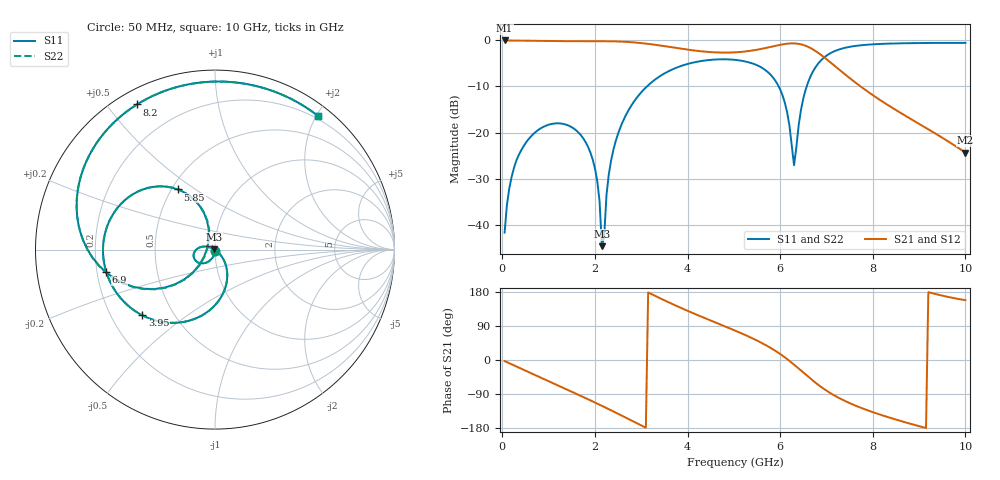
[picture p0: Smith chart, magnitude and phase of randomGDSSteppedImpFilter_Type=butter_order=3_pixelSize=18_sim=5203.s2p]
! freq	dB(S11)	phase(S11)	dB(S12)	phase(S12)
!  dB(S21)	phase(S21)	dB(S22)	phase(S22)
!S-par simulation data
#  GHz  S  DB  R 50
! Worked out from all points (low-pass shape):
!   200 points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, 50 MHz to 10 GHz, reference 50 ohm
!   highest |S21| = 0.00 dB at 50 MHz (marker M1); lowest = -24.3 dB at 10 GHz (marker M2)
!   |S21| within 3 dB of the highest: start of sweep to 6.864 GHz
!   lowest |S11| = -44.7 dB at 2.15 GHz (marker M3), VSWR 1.01, Z = 49.5 + j0.197 ohm
!   |S11| at or under -10 dB: start of sweep to 3.122 GHz; 5.968 GHz to 6.573 GHz (604.7 MHz wide, 9.64 % of centre)
!   |S22| runs from -44.7 to -0.5 dB; largest |S21 - S12| = 0
!   S11 on the Smith chart (normalised r, x): 50 MHz: 1.00, -0.02; 3.95 GHz: 0.33, -0.35; 5.85 GHz: 0.54, +0.43; 6.9 GHz: 0.24, -0.10; 8.2 GHz: 0.06, +0.60; 10 GHz: 0.16, +2.02
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0.05  -41.73 -92.2  -0.00 -2.8  -0.00 -2.8  -41.73 -92.2
0.25  -27.73 -103.8  -0.03 -14.1  -0.03 -14.1  -27.73 -103.8
0.6  -21.06 -124.3  -0.08 -33.6  -0.08 -33.6  -21.06 -124.3
1.2  -17.99 -157.4  -0.15 -66.8  -0.15 -66.8  -17.99 -157.4
1.75  -21.28 172.0  -0.15 -97.7  -0.15 -97.7  -21.28 172.0
2.05  -30.48 156.1  -0.14 -115.0  -0.14 -115.0  -30.49 156.0
2.15  -44.67 160.0  -0.14 -120.9  -0.14 -120.9  -44.70 159.6
2.3  -29.07 -42.8  -0.16 -129.9  -0.16 -129.9  -29.07 -42.8
2.5  -20.25 -53.7  -0.22 -142.0  -0.22 -142.0  -20.25 -53.7
3.4  -7.78 -107.5  -1.09 163.3  -1.09 163.3  -7.78 -107.5
3.95  -5.26 -137.9  -1.92 132.5  -1.92 132.5  -5.26 -137.9
5.05  -4.24 167.1  -2.57 76.4  -2.57 76.4  -4.24 167.1
5.85  -8.10 121.6  -1.27 27.8  -1.27 27.8  -8.10 121.4
6.15  -15.56 105.5  -0.71 2.5  -0.71 2.5  -15.58 104.9
6.3  -27.10 161.3  -0.64 -12.2  -0.64 -12.2  -27.51 161.0
6.45  -15.04 -134.1  -0.85 -27.8  -0.85 -27.8  -15.07 -133.4
6.7  -6.90 -151.1  -1.90 -53.7  -1.90 -53.7  -6.90 -150.8
6.9  -4.15 -168.2  -3.27 -72.4  -3.27 -72.4  -4.15 -168.0
7.4  -1.60 156.9  -7.36 -108.1  -7.36 -108.1  -1.60 157.0
8.2  -0.74 118.3  -13.22 -145.8  -13.22 -145.8  -0.74 118.3
8.35  -0.69 112.2  -14.18 -151.6  -14.18 -151.6  -0.69 112.2
10  -0.54 52.5  -24.34 157.9  -24.34 157.9  -0.54 52.5
